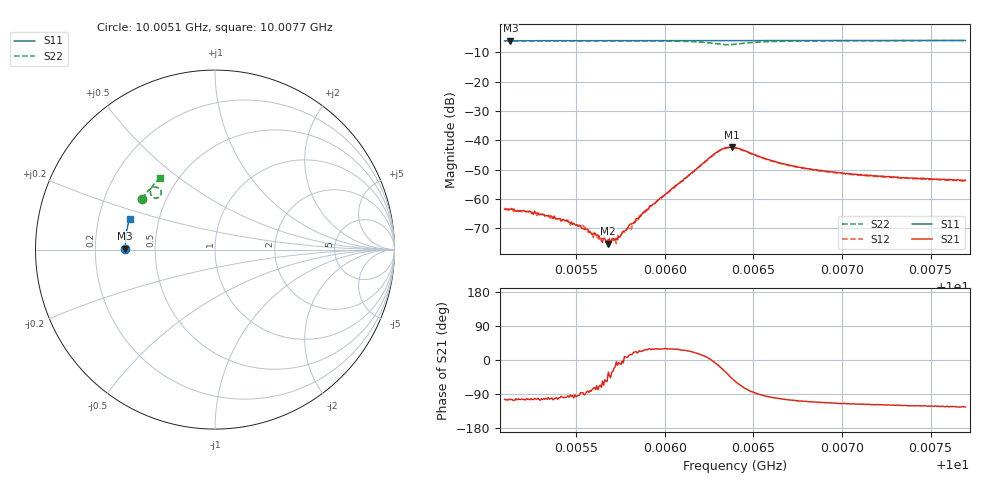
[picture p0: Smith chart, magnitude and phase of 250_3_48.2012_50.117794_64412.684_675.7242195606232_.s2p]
#  HZ  S  RI  R  50.00
! Rohde & Schwarz Vector Network Analyzer
! Rohde-Schwarz,ZNB20-2Port,1311601062101988,3.16
! Created: UTC 3/20/2024, 11:47:14 AM
! freq[Hz]  re:S11  im:S11  re:S21  im:S21  re:S12  im:S12  re:S22  im:S22
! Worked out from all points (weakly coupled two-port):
!   401 points, 10.0051 GHz to 10.0077 GHz, reference 50 ohm
!   highest |S21| = -42.35 dB at 10.00638 GHz (marker M1); lowest = -75.3 dB at 10.00568 GHz (marker M2)
!   lowest |S11| = -6.0 dB at 10.00513 GHz (marker M3), VSWR 3.00, Z = 16.7 + j0.264 ohm
!   |S11| at or under -10 dB: nowhere
!   |S22| runs from -7.4 to -6.0 dB; largest |S21 - S12| = 0.00045
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1.0005096e10  -0.4998 0.0039  -0.000157 -0.000644  -0.000108 -0.000676  -0.4057 0.2836
1.0005128e10  -0.4998 0.00594  -0.000162 -0.000642  -9.86e-05 -0.000642  -0.4045 0.2855
1.0005349e10  -0.4999 0.0203  -0.000118 -0.000492  -5.51e-05 -0.000492  -0.3957 0.2985
1.0005441e10  -0.4999 0.0263  -6.17e-05 -0.000421  -5.27e-05 -0.000422  -0.3919 0.3041
1.0005473e10  -0.4999 0.0285  -4.17e-05 -0.000403  -2.92e-05 -0.00037  -0.3904 0.3061
1.0005532e10  -0.4997 0.0323  1.8e-05 -0.00031  7.52e-06 -0.00035  -0.3876 0.3097
1.0005584e10  -0.4997 0.0357  3.38e-05 -0.00026  4.66e-05 -0.000245  -0.3852 0.3127
1.0005681e10  -0.4993 0.0421  0.000145 -9.09e-05  0.000142 -0.000143  -0.3803 0.3187
1.0005701e10  -0.4992 0.0432  0.000172 -0.000108  0.000169 -9.85e-05  -0.3791 0.32
1.000574e10  -0.499 0.0458  0.000224 -2.9e-05  0.000235 -7.03e-06  -0.377 0.3225
1.0005746e10  -0.499 0.0462  0.000219 -3.31e-05  0.00023 -4.24e-05  -0.3765 0.3231
1.0005805e10  -0.4988 0.05  0.000359 9.36e-05  0.000326 7.63e-05  -0.3731 0.3267
1.000587e10  -0.4984 0.0542  0.000496 0.000214  0.000477 0.000233  -0.3686 0.3309
1.0005967e10  -0.4978 0.0605  0.000853 0.000485  0.000848 0.000492  -0.3607 0.3376
1.0006286e10  -0.4951 0.0809  0.00598 -0.000837  0.00588 -0.000496  -0.3019 0.329
1.0006331e10  -0.4945 0.0836  0.00647 -0.00321  0.00648 -0.0029  -0.301 0.307
1.0006377e10  -0.4942 0.0862  0.00513 -0.00565  0.00531 -0.00523  -0.3169 0.2895
1.0006396e10  -0.494 0.0874  0.0042 -0.00618  0.0044 -0.00588  -0.3262 0.2872
1.0006604e10  -0.4926 0.1007  -0.000679 -0.00443  -0.000456 -0.0044  -0.3597 0.3249
1.0006832e10  -0.49 0.1152  -0.00111 -0.00299  -0.000959 -0.00297  -0.3503 0.3501
1.0007268e10  -0.4836 0.1427  -0.00115 -0.00211  -0.00103 -0.0021  -0.3282 0.3777
1.0007697e10  -0.4759 0.1692  -0.00116 -0.00173  -0.00106 -0.00174  -0.3062 0.3988
